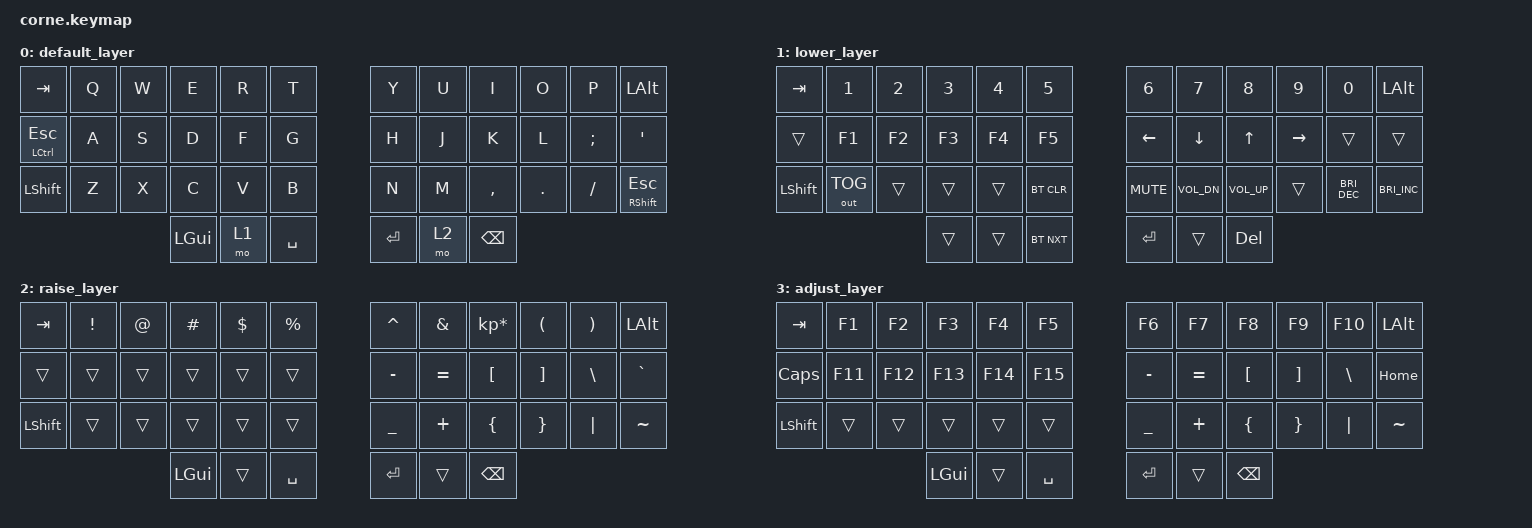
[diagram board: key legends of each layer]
/*
 * Copyright (c) 2020 The ZMK Contributors
 *
 * SPDX-License-Identifier: MIT
 */

#include <behaviors.dtsi>
#include <dt-bindings/zmk/keys.h>
#include <dt-bindings/zmk/bt.h>
#include <dt-bindings/zmk/outputs.h>

/ {
        conditional_layers {
              compatible = "zmk,conditional-layers";
              tri_layer {
                    if-layers = <1 2>;
                    then-layer = <3>;
              };
        };

        keymap {
                compatible = "zmk,keymap";

                default_layer {
// ---------------------------------------------------------------------------------------------------
// |  TAB  |   Q   |   W   |   E   |   R   |   T   | |   Y   |   U   |   I   |   O   |   P   |  ALT  |
// | CTRL  |   A   |   S   |   D   |   F   |   G   | |   H   |   J   |   K   |   L   |   ;   |   '   |
// | SHFT  |   Z   |   X   |   C   |   V   |   B   | |   N   |   M   |   ,   |   .   |   /   |  ESC  |
//                         |  GUI  |  LWR  |  SPC  | |  ENT  |  RSE  | BKSP  |
                        bindings = <
   &kp TAB       &kp Q &kp W &kp E    &kp R &kp T      &kp Y   &kp U &kp I     &kp O   &kp P    &kp LALT
   &mt LCTRL ESC &kp A &kp S &kp D    &kp F &kp G      &kp H   &kp J &kp K     &kp L   &kp SEMI &kp SQT
   &kp LSHFT     &kp Z &kp X &kp C    &kp V &kp B      &kp N   &kp M &kp COMMA &kp DOT &kp FSLH &mt RSHFT ESC
                             &kp LGUI &mo 1 &kp SPACE  &kp RET &mo 2 &kp BSPC
                        >;
                };

                lower_layer {
// ---------------------------------------------------------------------------------------------------
// |  TAB  |   1   |   2   |   3   |   4   |   5   | |   6   |   7   |   8   |   9   |   0   |  ALT  |
// | CTRL  |   F1  |   F2  |   F3  |   F4  |   F5  | |  LFT  |  DWN  |   UP  |  RGT  |       |       |
// | SHFT  | OUTTG |       |       |       |       | |  VMT  |  VDN  |  VUP  |       |  BDN  |  BUP  |
//                         | BTCLR |       | BTNXT | |  ENT  |       |  DEL  |
                        bindings = <
   &kp TAB   &kp N1       &kp N2       &kp N3       &kp N4       &kp N5        &kp N6     &kp N7       &kp N8       &kp N9    &kp N0        &kp LALT
   &trans    &kp F1       &kp F2       &kp F3       &kp F4       &kp F5        &kp LEFT   &kp DOWN     &kp UP       &kp RIGHT &trans        &trans
   &kp LSHFT &out OUT_TOG &trans       &trans       &trans       &bt BT_CLR    &kp K_MUTE &kp C_VOL_DN &kp C_VOL_UP &trans    &kp C_BRI_DEC &kp C_BRI_INC
                                       &trans       &trans       &bt BT_NXT    &kp RET    &trans       &kp DEL
                        >;
                };

                raise_layer {
// ---------------------------------------------------------------------------------------------------
// |  TAB  |   !   |   @   |   #   |   $   |   %   | |   ^   |   &   |   *   |   (   |   )   |  ALT  |
// | CTRL  |       |       |       |       |       | |   -   |   =   |   [   |   ]   |   \   |   `   |
// | SHFT  |       |       |       |       |       | |   _   |   +   |   {   |   }   |  "|"  |   ~   |
//                         |  GUI  |       |  SPC  | |  ENT  |       |  BKSP |
                        bindings = <
   &kp TAB   &kp EXCL &kp AT &kp HASH &kp DLLR &kp PRCNT  &kp CARET &kp AMPS  &kp KP_MULTIPLY &kp LPAR &kp RPAR &kp LALT
   &trans    &trans   &trans &trans   &trans   &trans     &kp MINUS &kp EQUAL &kp LBKT        &kp RBKT &kp BSLH &kp GRAVE
   &kp LSHFT &trans   &trans &trans   &trans   &trans     &kp UNDER &kp PLUS  &kp LBRC        &kp RBRC &kp PIPE &kp TILDE
                             &kp LGUI &trans   &kp SPACE  &kp RET   &trans    &kp BSPC
                        >;
                };

                adjust_layer {
// ---------------------------------------------------------------------------------------------------
// |  TAB  |   F1  |   F2  |   F3  |   F4  |   F5  | |   F6  |   F7  |   F8  |   F9  |  F10  |  ALT  |
// |  CTRL |  F11  |  F12  |  F13  |  F14  |  F15  | |   -   |   =   |   [   |   ]   |   \   |  HOME |
// |  SHFT |       |       |       |       |       | |   _   |   +   |   {   |   }   |  "|"  |   ~   |
//                         |  GUI  |       |  SPC  | |  ENT  |       |  BKSP |
                        bindings = <
   &kp TAB   &kp F1  &kp F2  &kp F3   &kp F4  &kp F5      &kp F6    &kp F7    &kp F8   &kp F9   &kp F10  &kp LALT
   &kp CAPS  &kp F11 &kp F12 &kp F13  &kp F14 &kp F15     &kp MINUS &kp EQUAL &kp LBKT &kp RBKT &kp BSLH &kp HOME
   &kp LSHFT &trans  &trans  &trans   &trans  &trans      &kp UNDER &kp PLUS  &kp LBRC &kp RBRC &kp PIPE &kp TILDE
                             &kp LGUI &trans  &kp SPACE   &kp RET   &trans    &kp BSPC
                        >;
                };

        };
};
